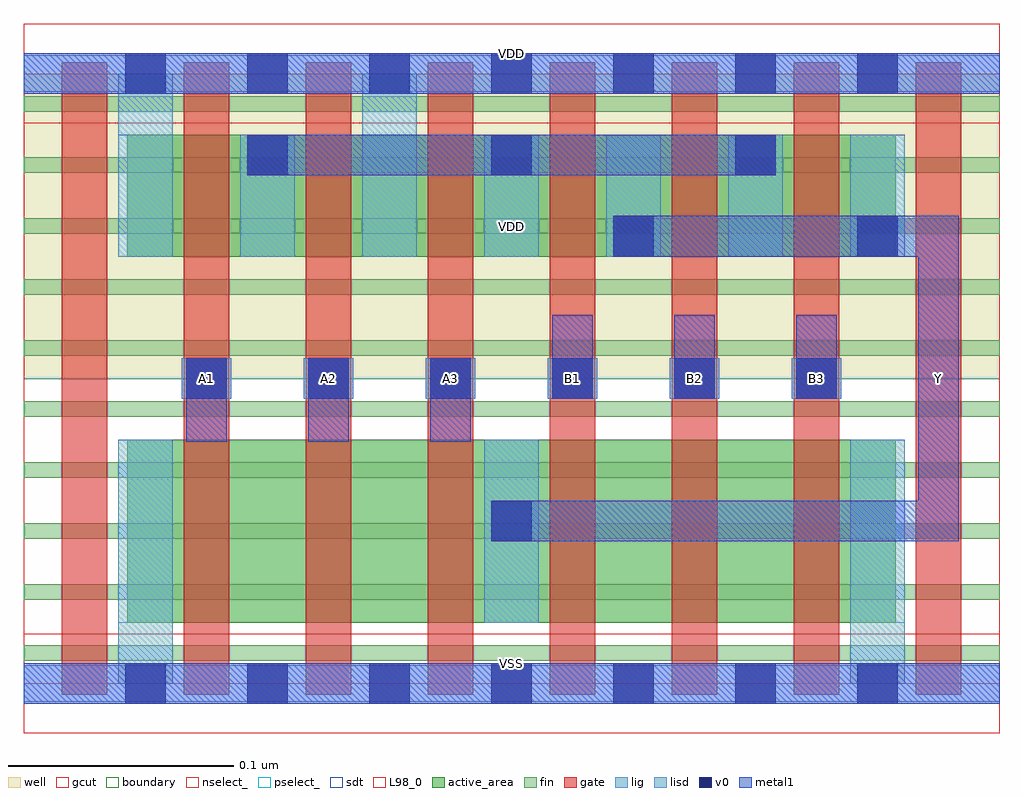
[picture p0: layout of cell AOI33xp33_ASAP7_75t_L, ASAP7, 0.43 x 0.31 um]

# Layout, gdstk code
import gdstk
lib = gdstk.Library(unit=1e-6, precision=2.5e-10)
def R(c, l, rs):  # rectangles x0, y0, x1, y1
    for r in rs: c.add(gdstk.rectangle(r[:2], r[2:], *l))
def A(c, l, x, y, w, h, nx, ny, dx, dy):  # array of equal rectangles
    R(c, l, [(x+i*dx, y+j*dy, x+i*dx+w, y+j*dy+h) for i in range(nx) for j in range(ny)])
def P(c, l, *ps):  # polygons
    for p in ps: c.add(gdstk.Polygon(p, *l))
well = (1, 0)
fin = (2, 0)
gate = (7, 0)
gcut = (10, 0)
active_area = (11, 0)
nselect_ = (12, 0)
pselect_ = (13, 0)
lig = (16, 0)
lisd = (17, 0)
v0 = (18, 0)
metal1 = (19, 0)
sdt = (88, 0)
L98_0 = (98, 0)
boundary = (100, 0)

aoi33xp33_asap7_75t_l = lib.new_cell('AOI33xp33_ASAP7_75t_L')
R(aoi33xp33_asap7_75t_l, well, [(0,0.135,0.432,0.27)])
A(aoi33xp33_asap7_75t_l, fin, 0, 0.01, 0.432, 0.007, 1, 10, 0, 0.027)
A(aoi33xp33_asap7_75t_l, gate, 0.017, -0.005, 0.02, 0.28, 8, 1, 0.054, 0)
R(aoi33xp33_asap7_75t_l, gcut, [(0,-0.022,0.432,0.022), (0,0.248,0.432,0.292)])
R(aoi33xp33_asap7_75t_l, active_area, [(0.046,0.027,0.386,0.108), (0.046,0.189,0.386,0.243)])
R(aoi33xp33_asap7_75t_l, nselect_, [(0,0,0.432,0.135)])
R(aoi33xp33_asap7_75t_l, pselect_, [(0,0.135,0.432,0.27)])
A(aoi33xp33_asap7_75t_l, lig, 0.07, 0.126, 0.022, 0.018, 6, 1, 0.054, 0)
R(aoi33xp33_asap7_75t_l, lig, [(0,-0.008,0.432,0.008), (0,0.262,0.432,0.278)])
A(aoi33xp33_asap7_75t_l, lisd, 0.204, 0.189, 0.024, 0.054, 4, 1, 0.054, 0)
R(aoi33xp33_asap7_75t_l, lisd, [(0.042,0,0.066,0.108), (0.042,0,0.066,0.108), (0.366,0,0.39,0.108), (0.366,0,0.39,0.108), (0.204,0.027,0.228,0.108), (0.042,0.189,0.066,0.27), (0.042,0.189,0.066,0.27), (0.096,0.189,0.12,0.243), (0.15,0.189,0.174,0.27), (0.15,0.189,0.174,0.27)])
A(aoi33xp33_asap7_75t_l, v0, 0.045, -0.009, 0.018, 0.018, 7, 2, 0.054, 0.27)
A(aoi33xp33_asap7_75t_l, v0, 0.072, 0.126, 0.018, 0.018, 6, 1, 0.054, 0)
A(aoi33xp33_asap7_75t_l, v0, 0.099, 0.225, 0.018, 0.018, 3, 1, 0.108, 0)
R(aoi33xp33_asap7_75t_l, v0, [(0.207,0.063,0.225,0.081), (0.261,0.189,0.279,0.207), (0.369,0.189,0.387,0.207)])
A(aoi33xp33_asap7_75t_l, metal1, 0.072, 0.107, 0.018, 0.037, 3, 1, 0.054, 0)
A(aoi33xp33_asap7_75t_l, metal1, 0.072, 0.126, 0.018, 0.018, 6, 1, 0.054, 0)
A(aoi33xp33_asap7_75t_l, metal1, 0.234, 0.126, 0.018, 0.037, 3, 1, 0.054, 0)
A(aoi33xp33_asap7_75t_l, metal1, 0.099, 0.225, 0.018, 0.018, 3, 1, 0.108, 0)
R(aoi33xp33_asap7_75t_l, metal1, [(0,-0.009,0.432,0.009), (0.207,0.063,0.225,0.081), (0.261,0.189,0.279,0.207), (0.369,0.189,0.387,0.207), (0.099,0.225,0.333,0.243), (0,0.261,0.432,0.279)])
P(aoi33xp33_asap7_75t_l, metal1, [(0.261,0.207),(0.261,0.189),(0.396,0.189),(0.396,0.081),(0.207,0.081),(0.207,0.063),(0.414,0.063),(0.414,0.207)])
A(aoi33xp33_asap7_75t_l, sdt, 0.042, 0.027, 0.024, 0.081, 3, 1, 0.162, 0)
A(aoi33xp33_asap7_75t_l, sdt, 0.042, 0.189, 0.024, 0.054, 3, 1, 0.054, 0)
A(aoi33xp33_asap7_75t_l, sdt, 0.15, 0.189, 0.024, 0.054, 5, 1, 0.054, 0)
R(aoi33xp33_asap7_75t_l, sdt, [(0.042,0.027,0.066,0.108), (0.366,0.027,0.39,0.108), (0.042,0.189,0.066,0.243)])
R(aoi33xp33_asap7_75t_l, L98_0, [(0,0,0.432,0.27)])
R(aoi33xp33_asap7_75t_l, boundary, [(0,0,0.432,0.27)])
aoi33xp33_asap7_75t_l.add(gdstk.Label('VDD', (0.216,0.2025), layer=1, texttype=251))
aoi33xp33_asap7_75t_l.add(gdstk.Label('VSS', (0.216,-0.0675), layer=3, texttype=251))
aoi33xp33_asap7_75t_l.add(gdstk.Label('VSS', (0.216,0.009), layer=19, texttype=251))
aoi33xp33_asap7_75t_l.add(gdstk.Label('VDD', (0.216,0.279), layer=19, texttype=251))
aoi33xp33_asap7_75t_l.add(gdstk.Label('A1', (0.081,0.135), layer=19, texttype=251))
aoi33xp33_asap7_75t_l.add(gdstk.Label('A2', (0.135,0.135), layer=19, texttype=251))
aoi33xp33_asap7_75t_l.add(gdstk.Label('A3', (0.189,0.135), layer=19, texttype=251))
aoi33xp33_asap7_75t_l.add(gdstk.Label('Y', (0.405,0.135), layer=19, texttype=251))
aoi33xp33_asap7_75t_l.add(gdstk.Label('B1', (0.243,0.135), layer=19, texttype=251))
aoi33xp33_asap7_75t_l.add(gdstk.Label('B2', (0.297,0.135), layer=19, texttype=251))
aoi33xp33_asap7_75t_l.add(gdstk.Label('B3', (0.351,0.135), layer=19, texttype=251))

lib.write_gds('AOI33xp33_ASAP7_75t_L.gds')
